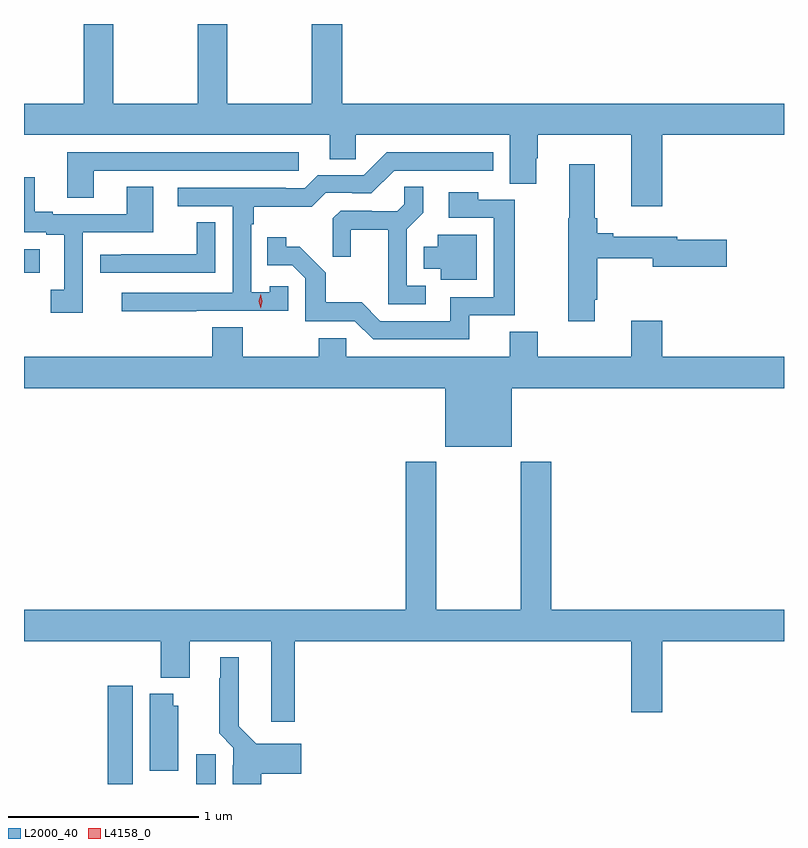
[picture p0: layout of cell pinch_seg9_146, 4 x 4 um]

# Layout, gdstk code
import gdstk
lib = gdstk.Library(unit=1e-6, precision=1e-09)
def R(c, l, rs):  # rectangles x0, y0, x1, y1
    for r in rs: c.add(gdstk.rectangle(r[:2], r[2:], *l))
def P(c, l, *ps):  # polygons
    for p in ps: c.add(gdstk.Polygon(p, *l))
L2000_40 = (2000, 40)
L4158_0 = (4158, 0)

pinch_seg9_146 = lib.new_cell('pinch_seg9_146')
R(pinch_seg9_146, L2000_40, [(677.738,1232.964,677.869,1233.481), (678.203,1232.964,678.307,1233.121), (677.297,1235.655,677.38,1235.779)])
P(pinch_seg9_146, L2000_40, [(680.656,1236.38),(681.297,1236.38),(681.297,1236.544),(678.971,1236.544),(678.971,1236.964),(678.811,1236.964),(678.811,1236.544),(678.366,1236.544),(678.366,1236.964),(678.211,1236.964),(678.211,1236.544),(677.766,1236.544),(677.766,1236.964),(677.611,1236.964),(677.611,1236.544),(677.297,1236.544),(677.297,1236.38),(678.905,1236.38),(678.905,1236.253),(679.044,1236.253),(679.044,1236.38),(679.853,1236.38),(679.853,1236.124),(679.993,1236.124),(679.993,1236.258),(680.001,1236.258),(680.001,1236.38),(680.492,1236.38),(680.492,1236.006),(680.656,1236.006)],
  [(678.203,1235.454),(678.687,1235.454),(678.687,1235.583),(678.591,1235.583),(678.591,1235.551),(678.492,1235.551),(678.492,1235.909),(678.505,1235.909),(678.505,1236.002),(678.812,1236.002),(678.885,1236.075),(679.024,1236.075),(679.024,1236.072),(679.125,1236.072),(679.245,1236.192),(679.768,1236.192),(679.768,1236.288),(679.206,1236.288),(679.086,1236.168),(678.843,1236.168),(678.774,1236.099),(678.674,1236.099),(678.674,1236.102),(678.105,1236.102),(678.105,1236.006),(678.396,1236.006),(678.396,1235.55),(677.811,1235.55),(677.811,1235.452),(678.203,1235.452)],
  [(677.665,1236.192),(678.742,1236.192),(678.742,1236.288),(677.525,1236.288),(677.525,1236.049),(677.665,1236.049)],
  [(680.302,1235.512),(680.315,1235.512),(680.315,1235.732),(680.606,1235.732),(680.606,1235.686),(680.995,1235.686),(680.995,1235.828),(680.734,1235.828),(680.734,1235.845),(680.398,1235.845),(680.398,1235.864),(680.315,1235.864),(680.315,1235.941),(680.302,1235.941),(680.302,1236.226),(680.168,1236.226),(680.168,1235.941),(680.161,1235.941),(680.161,1235.4),(680.302,1235.4)],
  [(677.607,1235.868),(677.977,1235.868),(677.977,1236.107),(677.837,1236.107),(677.837,1235.964),(677.449,1235.964),(677.449,1235.977),(677.353,1235.977),(677.353,1236.157),(677.297,1236.157),(677.297,1235.868),(677.414,1235.868),(677.414,1235.856),(677.51,1235.856),(677.51,1235.565),(677.439,1235.565),(677.439,1235.445),(677.607,1235.445)],
  [(679.411,1235.586),(679.311,1235.586),(679.311,1235.885),(679.397,1235.971),(679.397,1236.107),(679.299,1236.107),(679.299,1236.016),(679.262,1235.979),(679.128,1235.979),(679.128,1235.982),(678.963,1235.982),(678.922,1235.941),(678.922,1235.739),(679.016,1235.739),(679.016,1235.882),(679.214,1235.882),(679.214,1235.49),(679.411,1235.49)],
  [(679.64,1235.43),(679.879,1235.43),(679.879,1236.039),(679.689,1236.039),(679.689,1236.079),(679.533,1236.079),(679.533,1235.943),(679.77,1235.943),(679.77,1235.526),(679.541,1235.526),(679.541,1235.4),(679.173,1235.4),(679.075,1235.499),(678.886,1235.499),(678.886,1235.654),(678.748,1235.792),(678.678,1235.792),(678.678,1235.842),(678.577,1235.842),(678.577,1235.694),(678.708,1235.694),(678.777,1235.625),(678.777,1235.4),(679.038,1235.4),(679.134,1235.304),(679.64,1235.304)],
  [(678.303,1235.921),(678.205,1235.921),(678.205,1235.751),(677.809,1235.751),(677.809,1235.75),(677.697,1235.75),(677.697,1235.655),(678.303,1235.655)],
  [(679.681,1235.854),(679.475,1235.854),(679.475,1235.791),(679.4,1235.791),(679.4,1235.675),(679.49,1235.675),(679.49,1235.618),(679.681,1235.618)],
  [(679.864,1235.048),(681.297,1235.048),(681.297,1235.212),(680.656,1235.212),(680.656,1235.401),(680.492,1235.401),(680.492,1235.212),(680.001,1235.212),(680.001,1235.345),(679.853,1235.345),(679.853,1235.212),(678.993,1235.212),(678.993,1235.31),(678.847,1235.31),(678.847,1235.212),(678.447,1235.212),(678.447,1235.369),(678.287,1235.369),(678.287,1235.212),(677.297,1235.212),(677.297,1235.048),(679.514,1235.048),(679.514,1234.739),(679.864,1234.739)],
  [(678.722,1233.716),(680.492,1233.716),(680.492,1233.342),(680.656,1233.342),(680.656,1233.716),(681.297,1233.716),(681.297,1233.88),(680.072,1233.88),(680.072,1234.66),(679.912,1234.66),(679.912,1233.88),(679.467,1233.88),(679.467,1234.66),(679.307,1234.66),(679.307,1233.88),(677.297,1233.88),(677.297,1233.716),(678.017,1233.716),(678.017,1233.524),(678.169,1233.524),(678.169,1233.716),(678.599,1233.716),(678.599,1233.291),(678.722,1233.291)],
  [(678.545,1233.017),(678.757,1233.017),(678.757,1233.175),(678.519,1233.175),(678.427,1233.268),(678.427,1233.631),(678.329,1233.631),(678.329,1233.521),(678.325,1233.521),(678.325,1233.23),(678.399,1233.156),(678.399,1233.062),(678.395,1233.062),(678.395,1232.964),(678.545,1232.964)],
  [(678.109,1233.375),(678.082,1233.375),(678.082,1233.439),(677.96,1233.439),(677.96,1233.034),(678.109,1233.034)])
P(pinch_seg9_146, L4158_0, [(678.542,1235.469),(678.542,1235.469),(678.532,1235.505),(678.542,1235.541),(678.542,1235.542),(678.543,1235.541),(678.552,1235.505),(678.543,1235.469)])

lib.write_gds('pinch_seg9_146.gds')
